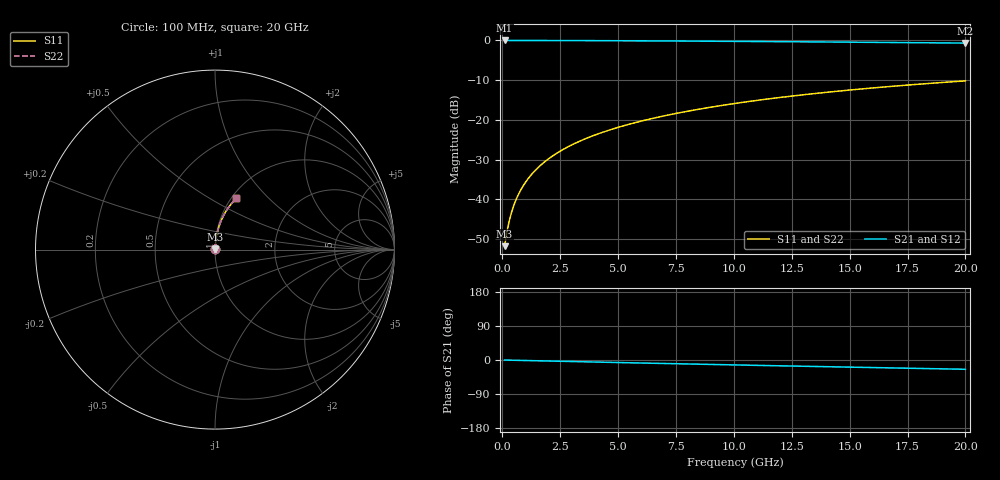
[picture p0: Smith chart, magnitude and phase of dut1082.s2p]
! Touchstone file exported from HFSS 2024.1.0
!  File:  C:/UserFiles/LocalFiles/RDL_TSV_Batchsim/temp_RDL_top_1082_1780045634.aedt
!  Generated:  05:11:53 PM May 29, 2026
!  Design:  RDL_top
!  Project:  temp_RDL_top_1082_1780045634
!  Setup:  Setup1
!  Solution:  Sweep
! Variables:
!  dtsv = 10.80580581um
!  hbump = 3um
!  htsv = 95.64um
!  ldown = 100um
!  lrdl = 277.08um
!  p = 40
!  p1 = 51.06um
!  rhole = 1um
!  t = 450um
!  tdown = 3.915915916um
!  trdl = 4.44um
!  wdown = 15.38538539um
!  wrdl = 11.88um
# GHz S MA R 50.000000
! Terminal data exported
! Port[1] = Box2_T1
! Port[2] = Box2_T2
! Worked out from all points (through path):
!   200 points, 100 MHz to 20 GHz, reference 50 ohm
!   highest |S21| = -0.02 dB at 100 MHz (marker M1); lowest = -0.7 dB at 20 GHz (marker M2)
!   group delay of S21, straight-line fit = 3.39 ps
!   lowest |S11| = -51.8 dB at 100 MHz (marker M3), VSWR 1.01, Z = 50.2 + j0.167 ohm
!   |S11| at or under -10 dB: start of sweep to end of sweep
!   |S22| runs from -51.8 to -10.2 dB; largest |S21 - S12| = 3e-15
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0.1  0.002568 40.2  0.998 -0.1  0.998 -0.1  0.002568 40.2
! Gamma 0 0 0 0
! Port Impedance 50 0 50 0
0.2  0.003861 58.8  0.998 -0.3  0.998 -0.3  0.003861 58.8
0.3  0.005338 67.4  0.9979 -0.4  0.9979 -0.4  0.005338 67.4
0.4  0.006871 72.2  0.9979 -0.6  0.9979 -0.6  0.006871 72.2
0.5  0.008427 75.2  0.9978 -0.7  0.9978 -0.7  0.008427 75.2
0.6  0.009996 77.2  0.9978 -0.8  0.9978 -0.8  0.009996 77.2
0.8  0.01316 79.9  0.9976 -1.1  0.9976 -1.1  0.01316 79.9
1.1  0.01793 81.9  0.9974 -1.5  0.9974 -1.5  0.01793 81.9
1.5  0.02432 83.3  0.997 -2.0  0.997 -2.0  0.02432 83.3
1.8  0.02913 83.8  0.9967 -2.4  0.9967 -2.4  0.02913 83.8
2.1  0.03393 84.0  0.9963 -2.9  0.9963 -2.9  0.03393 84.0
2.7  0.04355 84.2  0.9954 -3.7  0.9954 -3.7  0.04355 84.2
3.5  0.05637 84.0  0.9938 -4.7  0.9938 -4.7  0.05637 84.0
4.2  0.06758 83.6  0.9922 -5.6  0.9922 -5.6  0.06758 83.6
5  0.08039 83.0  0.9901 -6.7  0.9901 -6.7  0.08039 83.0
5.9  0.09478 82.3  0.9874 -7.9  0.9874 -7.9  0.09478 82.3
6.8  0.1092 81.5  0.9845 -9.0  0.9845 -9.0  0.1092 81.5
8.3  0.1331 80.1  0.9792 -10.9  0.9792 -10.9  0.1331 80.1
10.1  0.1616 78.3  0.9722 -13.1  0.9722 -13.1  0.1616 78.3
13.4  0.2129 74.7  0.9579 -17.0  0.9579 -17.0  0.2129 74.7
16.7  0.2623 71.0  0.9421 -20.8  0.9421 -20.8  0.2623 71.0
20  0.3092 67.4  0.925 -24.5  0.925 -24.5  0.3092 67.4
